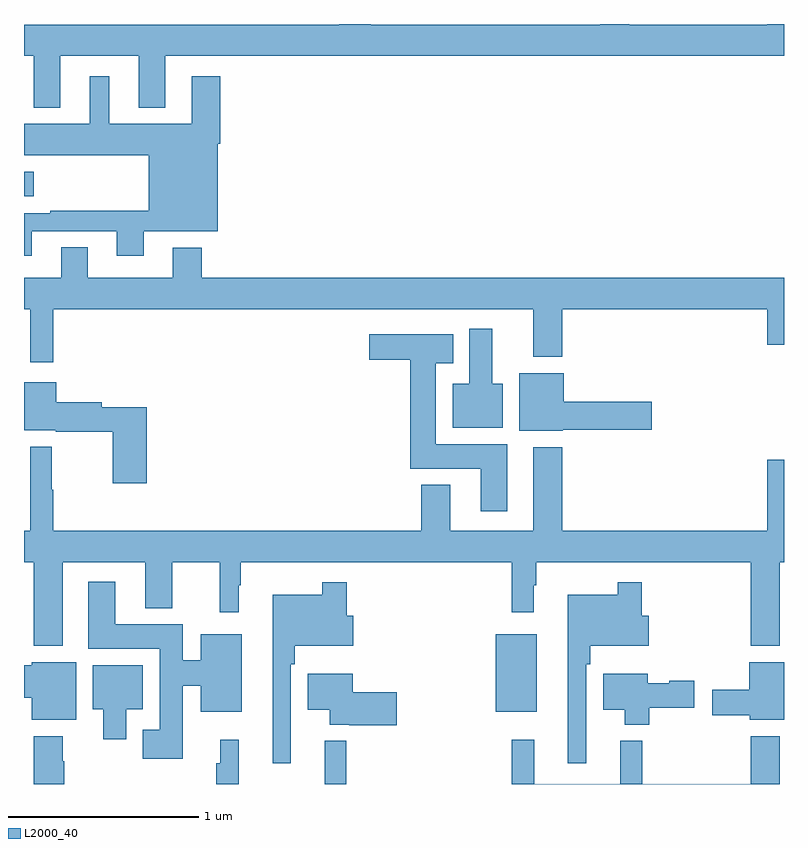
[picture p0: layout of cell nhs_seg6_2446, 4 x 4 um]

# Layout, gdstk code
import gdstk
lib = gdstk.Library(unit=1e-6, precision=1e-09)
def R(c, l, rs):  # rectangles x0, y0, x1, y1
    for r in rs: c.add(gdstk.rectangle(r[:2], r[2:], *l))
def P(c, l, *ps):  # polygons
    for p in ps: c.add(gdstk.Polygon(p, *l))
L2000_40 = (2000, 40)

nhs_seg6_2446 = lib.new_cell('nhs_seg6_2446')
R(nhs_seg6_2446, L2000_40, [(258.584,947.5,258.697,947.728), (259.484,947.879,259.699,948.289), (257,950.594,257.05,950.722)])
P(nhs_seg6_2446, L2000_40, [(257.191,951.332),(257.603,951.332),(257.603,951.059),(257.743,951.059),(257.743,951.332),(261,951.332),(261,951.5),(260.912,951.5),(260.912,951.496),(260.186,951.496),(260.186,951.5),(260.034,951.5),(260.034,951.496),(258.824,951.496),(258.824,951.5),(258.659,951.5),(258.659,951.496),(257,951.496),(257,951.332),(257.051,951.332),(257.051,951.059),(257.191,951.059)],
  [(257.041,950.409),(257.489,950.409),(257.489,950.28),(257.629,950.28),(257.629,950.408),(258.019,950.408),(258.019,950.87),(258.032,950.87),(258.032,951.226),(257.882,951.226),(257.882,950.974),(257.449,950.974),(257.449,951.226),(257.345,951.226),(257.345,950.974),(257,950.974),(257,950.81),(257.657,950.81),(257.657,950.518),(257.137,950.518),(257.137,950.505),(257,950.505),(257,950.28),(257.041,950.28)],
  [(257.154,950),(259.679,950),(259.679,949.748),(259.832,949.748),(259.832,950),(260.912,950),(260.912,949.812),(261,949.812),(261,950.164),(257.936,950.164),(257.936,950.323),(257.783,950.323),(257.783,950.164),(257.335,950.164),(257.335,950.324),(257.195,950.324),(257.195,950.164),(257,950.164),(257,950),(257.033,950),(257.033,949.719),(257.154,949.719)],
  [(259.519,949.606),(259.465,949.606),(259.465,949.897),(259.343,949.897),(259.343,949.606),(259.256,949.606),(259.256,949.376),(259.519,949.376)],
  [(259.543,949.288),(259.168,949.288),(259.168,949.715),(259.258,949.715),(259.258,949.867),(258.816,949.867),(258.816,949.733),(259.034,949.733),(259.034,949.16),(259.403,949.16),(259.403,948.936),(259.543,948.936)],
  [(259.836,949.364),(260.305,949.364),(260.305,949.511),(259.84,949.511),(259.84,949.663),(259.607,949.663),(259.607,949.358),(259.836,949.358)],
  [(257.645,949.484),(257.41,949.484),(257.41,949.509),(257.17,949.509),(257.17,949.615),(257,949.615),(257,949.361),(257.166,949.361),(257.166,949.355),(257.467,949.355),(257.467,949.083),(257.645,949.083)],
  [(257.203,948.668),(257.639,948.668),(257.639,948.425),(257.779,948.425),(257.779,948.668),(258.031,948.668),(258.031,948.405),(258.13,948.405),(258.13,948.545),(258.142,948.545),(258.142,948.668),(259.567,948.668),(259.567,948.405),(259.684,948.405),(259.684,948.545),(259.696,948.545),(259.696,948.668),(260.825,948.668),(260.825,948.227),(260.977,948.227),(260.977,948.668),(261,948.668),(261,949.207),(260.912,949.207),(260.912,948.832),(259.832,948.832),(259.832,949.273),(259.679,949.273),(259.679,948.832),(259.243,948.832),(259.243,949.075),(259.091,949.075),(259.091,948.832),(257.154,948.832),(257.154,949.049),(257.147,949.049),(257.147,949.276),(257.033,949.276),(257.033,948.832),(257,948.832),(257,948.668),(257.051,948.668),(257.051,948.227),(257.203,948.227)],
  [(257.836,948.016),(257.93,948.016),(257.93,947.879),(258.145,947.879),(258.145,948.289),(257.93,948.289),(257.93,948.152),(257.836,948.152),(257.836,948.34),(257.479,948.34),(257.479,948.565),(257.339,948.565),(257.339,948.212),(257.714,948.212),(257.714,947.785),(257.624,947.785),(257.624,947.633),(257.836,947.633)],
  [(259.959,948.131),(259.979,948.131),(259.979,948.227),(260.287,948.227),(260.287,948.385),(260.252,948.385),(260.252,948.562),(260.124,948.562),(260.124,948.496),(259.862,948.496),(259.862,947.61),(259.959,947.61)],
  [(258.405,948.131),(258.425,948.131),(258.425,948.227),(258.733,948.227),(258.733,948.385),(258.698,948.385),(258.698,948.562),(258.57,948.562),(258.57,948.496),(258.308,948.496),(258.308,947.61),(258.405,947.61)],
  [(257.275,948.142),(257.042,948.142),(257.042,948.125),(257,948.125),(257,947.953),(257.042,947.953),(257.042,947.837),(257.275,947.837)],
  [(261,948.142),(260.816,948.142),(260.816,947.996),(260.622,947.996),(260.622,947.861),(260.82,947.861),(260.82,947.837),(261,947.837)],
  [(257.539,947.894),(257.626,947.894),(257.626,948.124),(257.363,948.124),(257.363,947.894),(257.417,947.894),(257.417,947.736),(257.539,947.736)],
  [(260.291,947.902),(260.527,947.902),(260.527,948.044),(260.397,948.044),(260.397,948.031),(260.284,948.031),(260.284,948.079),(260.048,948.079),(260.048,947.891),(260.162,947.891),(260.162,947.813),(260.291,947.813)],
  [(258.961,947.984),(258.73,947.984),(258.73,948.079),(258.494,948.079),(258.494,947.891),(258.608,947.891),(258.608,947.813),(258.712,947.813),(258.712,947.808),(258.961,947.808)],
  [(259.567,947.5),(260.977,947.5),(260.977,947.752),(260.825,947.752),(260.825,947.5),(260.255,947.5),(260.255,947.728),(260.138,947.728),(260.138,947.5),(259.685,947.5),(259.685,947.734),(259.567,947.734)],
  [(258.131,947.734),(258.032,947.734),(258.032,947.609),(258.013,947.609),(258.013,947.5),(258.131,947.5)],
  [(257.203,947.621),(257.203,947.752),(257.051,947.752),(257.051,947.5),(257.211,947.5),(257.211,947.621)])

lib.write_gds('nhs_seg6_2446.gds')
